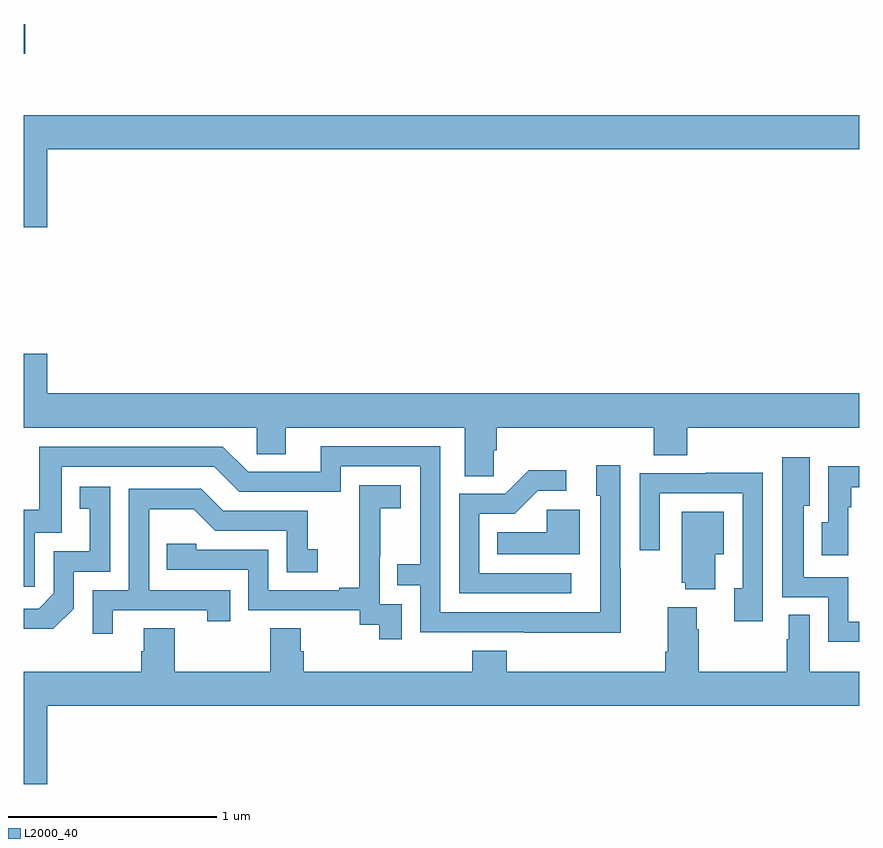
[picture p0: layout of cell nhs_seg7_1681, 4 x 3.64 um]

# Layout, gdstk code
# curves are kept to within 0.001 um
import gdstk
lib = gdstk.Library(unit=1e-6, precision=1e-09)
def R(c, l, rs):  # rectangles x0, y0, x1, y1
    for r in rs: c.add(gdstk.rectangle(r[:2], r[2:], *l))
def P(c, l, *ps):  # polygons
    for p in ps: c.add(gdstk.Polygon(p, *l))
L2000_40 = (2000, 40)

nhs_seg7_1681 = lib.new_cell('nhs_seg7_1681')
R(nhs_seg7_1681, L2000_40, [(225,1031.71,225.007,1031.852)])
P(nhs_seg7_1681, L2000_40, [(225.112,1031.252),(229,1031.252),(229,1031.416),(225,1031.416),(225,1030.878),(225.112,1030.878)],
  [(227.25,1029.811),(227.264,1029.811),(227.264,1029.92),(228.017,1029.92),(228.017,1029.787),(228.177,1029.787),(228.177,1029.92),(229,1029.92),(229,1030.084),(225.112,1030.084),(225.112,1030.273),(225,1030.273),(225,1029.92),(226.116,1029.92),(226.116,1029.793),(226.255,1029.793),(226.255,1029.92),(227.111,1029.92),(227.111,1029.688),(227.25,1029.688)],
  [(227.859,1029.245),(227.856,1029.245),(227.856,1029.739),(227.741,1029.739),(227.741,1029.594),(227.76,1029.594),(227.759,1029.036),(226.995,1029.036),(226.995,1029.831),(226.421,1029.831),(226.421,1029.708),(226.074,1029.708),(225.954,1029.828),(225.075,1029.828),(225.075,1029.526),(225,1029.526),(225,1029.159),(225.054,1029.159),(225.054,1029.417),(225.183,1029.417),(225.183,1029.732),(225.912,1029.732),(226.032,1029.612),(226.518,1029.612),(226.518,1029.735),(226.899,1029.735),(226.899,1029.266),(226.789,1029.266),(226.789,1029.165),(226.899,1029.165),(226.899,1028.94),(227.859,1028.939)],
  [(229,1028.991),(228.948,1028.991),(228.948,1029.204),(228.733,1029.204),(228.733,1029.545),(228.763,1029.545),(228.763,1029.778),(228.632,1029.778),(228.632,1029.108),(228.852,1029.108),(228.852,1028.894),(229,1028.894)],
  [(228.948,1029.539),(228.961,1029.539),(228.961,1029.635),(229,1029.635),(229,1029.734),(228.852,1029.734),(228.852,1029.468),(228.821,1029.468),(228.821,1029.309),(228.948,1029.309)],
  [(227.62,1029.222),(227.181,1029.222),(227.181,1029.507),(227.35,1029.507),(227.461,1029.618),(227.596,1029.618),(227.596,1029.716),(227.417,1029.716),(227.304,1029.603),(227.085,1029.603),(227.085,1029.126),(227.62,1029.126)],
  [(228.537,1029.704),(228.265,1029.704),(228.265,1029.702),(227.949,1029.702),(227.949,1029.333),(228.045,1029.333),(228.045,1029.606),(228.441,1029.606),(228.441,1029.15),(228.401,1029.15),(228.401,1028.994),(228.537,1028.994)],
  [(226.809,1029.075),(226.704,1029.075),(226.704,1029.305),(226.706,1029.305),(226.706,1029.533),(226.804,1029.533),(226.804,1029.643),(226.606,1029.643),(226.606,1029.437),(226.607,1029.437),(226.607,1029.154),(226.511,1029.154),(226.511,1029.141),(226.17,1029.141),(226.17,1029.336),(225.825,1029.336),(225.825,1029.363),(225.685,1029.363),(225.685,1029.24),(226.074,1029.24),(226.074,1029.045),(226.608,1029.045),(226.608,1028.977),(226.701,1028.977),(226.701,1028.907),(226.809,1028.907)],
  [(225.24,1029.054),(225.24,1029.231),(225.414,1029.231),(225.414,1029.637),(225.268,1029.637),(225.268,1029.531),(225.317,1029.531),(225.317,1029.327),(225.144,1029.327),(225.144,1029.126),(225.072,1029.054),(225,1029.054),(225,1028.957),(225.142,1028.957)],
  [(225.427,1029.045),(225.878,1029.045),(225.878,1028.994),(225.989,1028.994),(225.989,1029.141),(225.6,1029.141),(225.6,1029.53),(225.814,1029.53),(225.918,1029.426),(226.26,1029.426),(226.26,1029.228),(226.408,1029.228),(226.408,1029.337),(226.359,1029.337),(226.359,1029.522),(225.955,1029.522),(225.85,1029.627),(225.504,1029.627),(225.504,1029.141),(225.33,1029.141),(225.33,1028.934),(225.427,1028.934)],
  [(227.662,1029.526),(227.505,1029.526),(227.505,1029.418),(227.266,1029.418),(227.266,1029.314),(227.662,1029.314)],
  [(228.31,1029.314),(228.352,1029.314),(228.352,1029.517),(228.149,1029.517),(228.149,1029.177),(228.167,1029.177),(228.167,1029.146),(228.31,1029.146)],
  [(225.112,1028.588),(229,1028.588),(229,1028.752),(228.763,1028.752),(228.763,1029.023),(228.662,1029.023),(228.662,1028.906),(228.652,1028.906),(228.652,1028.752),(228.231,1028.752),(228.231,1028.954),(228.223,1028.954),(228.223,1029.061),(228.083,1029.061),(228.083,1028.848),(228.071,1028.848),(228.071,1028.752),(227.312,1028.752),(227.312,1028.851),(227.147,1028.851),(227.147,1028.752),(226.34,1028.752),(226.34,1028.85),(226.327,1028.85),(226.327,1028.96),(226.18,1028.96),(226.18,1028.752),(225.723,1028.752),(225.723,1028.96),(225.575,1028.96),(225.575,1028.85),(225.563,1028.85),(225.563,1028.752),(225,1028.752),(225,1028.214),(225.112,1028.214)])

lib.write_gds('nhs_seg7_1681.gds')
